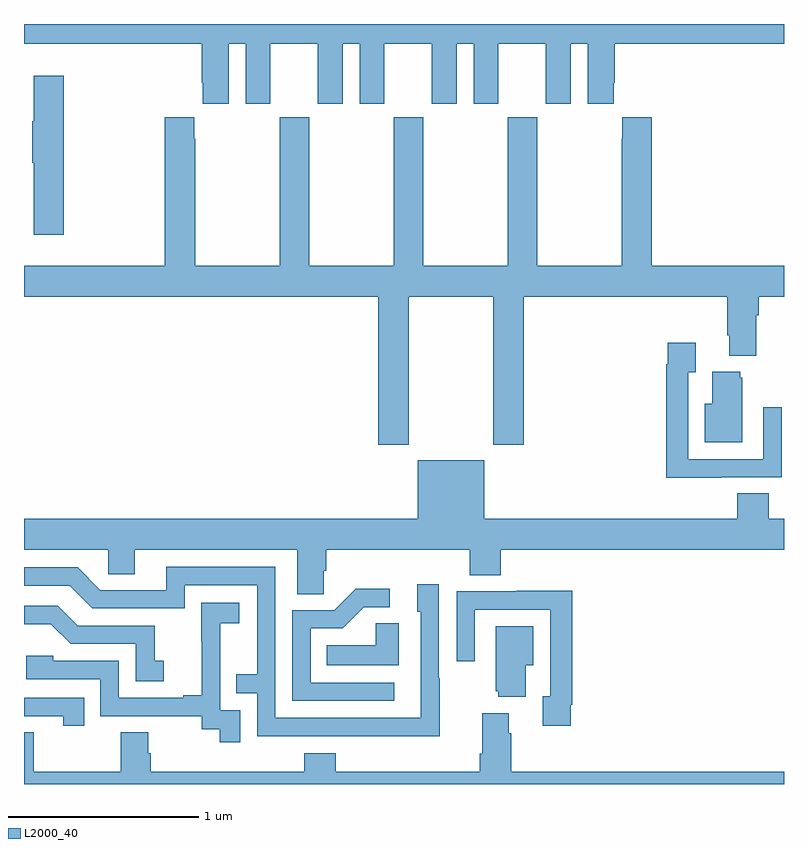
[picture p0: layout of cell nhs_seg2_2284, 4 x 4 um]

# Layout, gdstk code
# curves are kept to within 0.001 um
import gdstk
lib = gdstk.Library(unit=1e-6, precision=1e-09)
def P(c, l, *ps):  # polygons
    for p in ps: c.add(gdstk.Polygon(p, *l))
L2000_40 = (2000, 40)

nhs_seg2_2284 = lib.new_cell('nhs_seg2_2284')
P(nhs_seg2_2284, L2000_40, [(232.078,587.696),(232.166,587.696),(232.166,587.379),(232.297,587.379),(232.297,587.696),(232.547,587.696),(232.547,587.379),(232.678,587.379),(232.678,587.696),(232.766,587.696),(232.766,587.379),(232.897,587.379),(232.897,587.696),(233.147,587.696),(233.147,587.379),(233.278,587.379),(233.278,587.696),(233.366,587.696),(233.366,587.379),(233.497,587.379),(233.497,587.696),(233.747,587.696),(233.747,587.379),(233.878,587.379),(233.878,587.696),(233.966,587.696),(233.966,587.379),(234.103,587.379),(234.103,587.491),(234.11,587.491),(234.11,587.696),(235,587.696),(235,587.8),(231,587.8),(231,587.696),(231.935,587.696),(231.935,587.491),(231.941,587.491),(231.941,587.379),(232.078,587.379)],
  [(231.209,587.527),(231.05,587.527),(231.05,587.288),(231.043,587.288),(231.043,587.071),(231.05,587.071),(231.05,586.692),(231.209,586.692)],
  [(233.025,586.364),(233.47,586.364),(233.47,585.585),(233.63,585.585),(233.63,586.364),(234.701,586.364),(234.701,586.162),(234.713,586.162),(234.713,586.055),(234.853,586.055),(234.853,586.268),(234.866,586.268),(234.866,586.364),(235,586.364),(235,586.528),(234.305,586.528),(234.305,587.308),(234.149,587.308),(234.149,587.195),(234.145,587.195),(234.145,586.528),(233.7,586.528),(233.7,587.308),(233.545,587.308),(233.545,586.528),(233.1,586.528),(233.1,587.308),(232.945,587.308),(232.945,586.528),(232.5,586.528),(232.5,587.308),(232.345,587.308),(232.345,586.528),(231.9,586.528),(231.9,587.195),(231.895,587.195),(231.895,587.308),(231.74,587.308),(231.74,586.528),(231,586.528),(231,586.364),(232.865,586.364),(232.865,585.585),(233.025,585.585)],
  [(234.671,585.414),(234.987,585.414),(234.987,585.784),(234.891,585.784),(234.891,585.51),(234.495,585.51),(234.495,585.967),(234.535,585.967),(234.535,586.123),(234.387,586.123),(234.387,586.01),(234.379,586.01),(234.379,585.413),(234.671,585.413)],
  [(234.781,585.939),(234.77,585.939),(234.77,585.97),(234.623,585.97),(234.623,585.802),(234.584,585.802),(234.584,585.599),(234.781,585.599)],
  [(232.578,584.923),(232.592,584.923),(232.592,585.032),(233.345,585.032),(233.345,584.899),(233.51,584.899),(233.51,585.032),(235,585.032),(235,585.196),(234.92,585.196),(234.92,585.329),(234.755,585.329),(234.755,585.196),(233.422,585.196),(233.422,585.505),(233.072,585.505),(233.072,585.196),(231,585.196),(231,585.032),(231.444,585.032),(231.444,584.905),(231.583,584.905),(231.583,585.032),(232.439,585.032),(232.439,584.8),(232.578,584.8)],
  [(233.187,584.357),(233.184,584.357),(233.184,584.851),(233.069,584.851),(233.069,584.706),(233.088,584.706),(233.088,584.148),(232.323,584.148),(232.323,584.943),(231.749,584.943),(231.749,584.82),(231.402,584.82),(231.282,584.94),(231,584.94),(231,584.844),(231.24,584.844),(231.36,584.724),(231.846,584.724),(231.846,584.847),(232.227,584.847),(232.227,584.378),(232.117,584.378),(232.117,584.277),(232.227,584.277),(232.227,584.052),(233.187,584.051)],
  [(232.948,584.334),(232.509,584.334),(232.509,584.619),(232.678,584.619),(232.789,584.73),(232.924,584.73),(232.924,584.828),(232.745,584.828),(232.632,584.715),(232.413,584.715),(232.413,584.238),(232.948,584.238)],
  [(233.878,584.218),(233.885,584.218),(233.885,584.816),(233.593,584.816),(233.593,584.814),(233.277,584.814),(233.277,584.445),(233.373,584.445),(233.373,584.718),(233.769,584.718),(233.769,584.262),(233.729,584.262),(233.729,584.106),(233.878,584.106)],
  [(232.137,584.187),(232.032,584.187),(232.032,584.417),(232.034,584.417),(232.034,584.645),(232.132,584.645),(232.132,584.755),(231.934,584.755),(231.934,584.549),(231.935,584.549),(231.935,584.266),(231.839,584.266),(231.839,584.253),(231.498,584.253),(231.498,584.448),(231.153,584.448),(231.153,584.475),(231.013,584.475),(231.013,584.352),(231.402,584.352),(231.402,584.157),(231.936,584.157),(231.936,584.089),(232.029,584.089),(232.029,584.019),(232.137,584.019)],
  [(231.736,584.449),(231.687,584.449),(231.687,584.634),(231.283,584.634),(231.178,584.739),(231,584.739),(231,584.642),(231.142,584.642),(231.246,584.538),(231.588,584.538),(231.588,584.34),(231.736,584.34)],
  [(232.972,584.645),(232.851,584.645),(232.851,584.53),(232.594,584.53),(232.594,584.426),(232.972,584.426)],
  [(233.641,584.426),(233.68,584.426),(233.68,584.629),(233.483,584.629),(233.483,584.289),(233.495,584.289),(233.495,584.258),(233.641,584.258)],
  [(231.317,584.253),(231,584.253),(231,584.157),(231.206,584.157),(231.206,584.106),(231.317,584.106)],
  [(235,583.864),(233.564,583.864),(233.564,584.066),(233.551,584.066),(233.551,584.173),(233.411,584.173),(233.411,583.96),(233.399,583.96),(233.399,583.864),(232.64,583.864),(232.64,583.963),(232.475,583.963),(232.475,583.864),(231.668,583.864),(231.668,583.962),(231.655,583.962),(231.655,584.072),(231.508,584.072),(231.508,583.864),(231.051,583.864),(231.051,584.072),(231,584.072),(231,583.8),(235,583.8)])

lib.write_gds('nhs_seg2_2284.gds')
